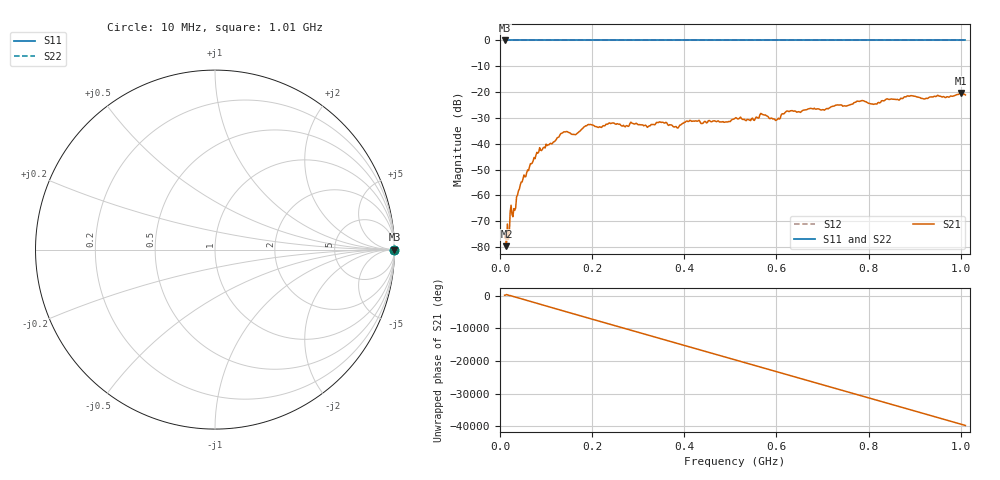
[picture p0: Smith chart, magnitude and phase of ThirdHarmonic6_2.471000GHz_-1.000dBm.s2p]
! 8/17/2025 4:32:56 AM
! C:\ANRITSUVNA\TEMP\TEMP.S2P
! CHANNEL.1
! TR.MEASUREMENT
! RAW.DATA
! RF.CORRECTION.OFF
! AVERAGING.OFF
! IF.BANDWIDTH: 5KHZ
! SWEEPTYPE:  FREQ.SWEEP(Linear)
! Reference Plane Port Info
! PORT:  PORT1  PORT2
! DISTANCE:  0  m  0  m
! TIME:  0  s  0  s
! PHASE.OFFSET:  0  deg.  0  deg.
! LOSS:  0  dB  0  dB
! REF.LOSS:  0  dB  0  dB
! REF.FREQ:  0  Hz  0  Hz
! Power Info
! POWER:  -20  dBm  -20  dBm
! EFF.POWER:  -20  dBm  -20  dBm
! SOURCE.ATTEN:  0  dB  0  dB
! TEST.ATTEN:  0  dB  0  dB
# GHZ S RI R 50.0
! FREQ.GHZ  S11RE  S11IM  S21RE  S21IM  S12RE  S12IM  S22RE  S22IM
!; PortSelection: Port_12
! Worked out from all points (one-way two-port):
!   501 points, 10 MHz to 1.01 GHz, reference 50 ohm
!   highest |S21| = -20.30 dB at 1 GHz (marker M1); lowest = -79.7 dB at 14 MHz (marker M2)
!   lowest |S11| = 0.0 dB at 10 MHz (marker M3)
!   |S11| at or under -10 dB: nowhere
!   |S22| runs from 0.0 to 0.0 dB; largest |S21 - S12| = 1.1
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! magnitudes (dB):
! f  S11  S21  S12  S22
! 10 MHz  0.0  -76.4  0.0  0.0
! 14 MHz  0.0  -79.7  0.0  0.0
! 16 MHz  0.0  -71.1  0.0  0.0
! 26 MHz  0.0  -67.3  0.0  0.0
! 30 MHz  0.0  -65.1  0.0  0.0
! 48 MHz  0.0  -54.8  0.0  0.0
! 82 MHz  0.0  -43.6  0.0  0.0
! 136 MHz  0.0  -35.8  0.0  0.0
! 162 MHz  0.0  -36.4  0.0  0.0
! 178 MHz  0.0  -34.3  0.0  0.0
! 344 MHz  0.0  -31.8  0.0  0.0
! 384 MHz  0.0  -33.8  0.0  0.0
! 408 MHz  0.0  -31.4  0.0  0.0
! 510 MHz  0.0  -30.1  0.0  0.0
! 548 MHz  0.0  -30.1  0.0  0.0
! 568 MHz  0.0  -28.4  0.0  0.0
! 602 MHz  0.0  -30.6  0.0  0.0
! 622 MHz  0.0  -27.4  0.0  0.0
! 678 MHz  0.0  -26.4  0.0  0.0
! 844 MHz  0.0  -22.9  0.0  0.0
! 1 GHz  0.0  -20.3  0.0  0.0
! 1.01 GHz  0.0  -21.1  0.0  0.0
